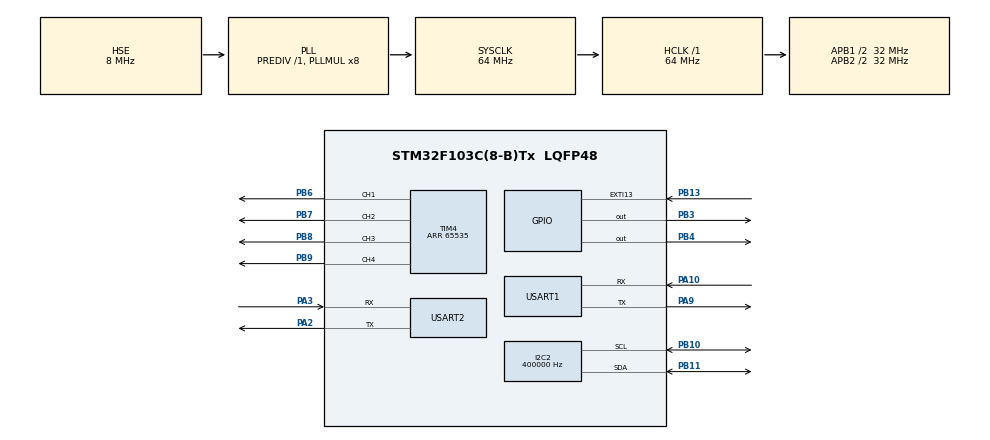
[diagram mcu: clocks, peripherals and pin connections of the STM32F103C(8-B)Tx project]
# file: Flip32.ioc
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I2C2.ClockSpeed=400000
I2C2.I2C_Mode=I2C_Fast
Mcu.Family=STM32F1
Mcu.Name=STM32F103C(8-B)Tx
Mcu.Package=LQFP48
NVIC.EXTI15_10_IRQn=true\:0\:0\:false
NVIC.PriorityGroup=NVIC_PRIORITYGROUP_4
NVIC.USART2_IRQn=true\:0\:0\:false
PA10.Mode=Asynchronous
PA10.Signal=USART1_RX
PA13.Mode=Serial_Wire
PA13.Signal=SYS_JTMS-SWDIO
PA14.Mode=Serial_Wire
PA14.Signal=SYS_JTCK-SWCLK
PA2.Mode=Asynchronous
PA2.Signal=USART2_TX
PA3.Mode=Asynchronous
PA3.Signal=USART2_RX
PA9.Mode=Asynchronous
PA9.Signal=USART1_TX
PB10.Mode=I2C
PB10.Signal=I2C2_SCL
PB11.Mode=I2C
PB11.Signal=I2C2_SDA
PB13.Signal=GPXTI13
PB3.Signal=GPIO_Output
PB4.Signal=GPIO_Output
PB6.Signal=S_TIM4_CH1
PB7.Signal=S_TIM4_CH2
PB8.Signal=S_TIM4_CH3
PB9.Signal=S_TIM4_CH4
PD0-OSC_IN.Mode=HSE-External-Oscillator
PD0-OSC_IN.Signal=RCC_OSC_IN
PD1-OSC_OUT.Mode=HSE-External-Oscillator
PD1-OSC_OUT.Signal=RCC_OSC_OUT
ProjectManager.HeapSize=0x400
ProjectManager.StackSize=0x200
ProjectManager.TargetToolchain=TrueSTUDIO
RCC.AHBFreq_Value=64000000
RCC.APB1CLKDivider=RCC_HCLK_DIV2
RCC.APB1Freq_Value=32000000
RCC.APB1TimCLKDivider=2
RCC.APB1TimFreq_Value=64000000
RCC.APB2CLKDivider=RCC_HCLK_DIV2
RCC.APB2Freq_Value=32000000
RCC.APB2TimCLKDivider=2
RCC.APB2TimFreq_Value=64000000
RCC.HCLKFreq_Value=64000000
RCC.HSIState=RCC_HSI_ON
RCC.PLLMUL=RCC_PLL_MUL8
RCC.PLLSourceVirtual=RCC_PLLSOURCE_HSE
RCC.SYSCLKFreq_VALUE=64000000
RCC.SYSCLKSource=RCC_SYSCLKSOURCE_PLLCLK
RCC.USBFreq_Value=64000000
SH.S_TIM4_CH1.0=TIM4_CH1,PWM Generation1 CH1
SH.S_TIM4_CH2.0=TIM4_CH2,PWM Generation2 CH2
SH.S_TIM4_CH3.0=TIM4_CH3,PWM Generation3 CH3
SH.S_TIM4_CH4.0=TIM4_CH4,PWM Generation4 CH4
TIM4.Channel-PWM\ Generation2\ CH2=TIM_CHANNEL_2
TIM4.Channel-PWM\ Generation3\ CH3=TIM_CHANNEL_3
TIM4.Channel-PWM\ Generation4\ CH4=TIM_CHANNEL_4
TIM4.Period=65535
VP_TIM4_VS_ClockSourceINT.Mode=Internal
board=Flip32

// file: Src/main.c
/**
  ******************************************************************************
  * File Name          : main.c
  * Description        : Main program body
  ******************************************************************************
  *
  * COPYRIGHT(c) 2016 STMicroelectronics
  *
  * Redistribution and use in source and binary forms, with or without modification,
  * are permitted provided that the following conditions are met:
  *   1. Redistributions of source code must retain the above copyright notice,
  *      this list of conditions and the following disclaimer.
  *   2. Redistributions in binary form must reproduce the above copyright notice,
  *      this list of conditions and the following disclaimer in the documentation
  *      and/or other materials provided with the distribution.
  *   3. Neither the name of STMicroelectronics nor the names of its contributors
  *      may be used to endorse or promote products derived from this software
  *      without specific prior written permission.
  *
  * THIS SOFTWARE IS PROVIDED BY THE COPYRIGHT HOLDERS AND CONTRIBUTORS "AS IS"
  * AND ANY EXPRESS OR IMPLIED WARRANTIES, INCLUDING, BUT NOT LIMITED TO, THE
  * IMPLIED WARRANTIES OF MERCHANTABILITY AND FITNESS FOR A PARTICULAR PURPOSE ARE
  * DISCLAIMED. IN NO EVENT SHALL THE COPYRIGHT HOLDER OR CONTRIBUTORS BE LIABLE
  * FOR ANY DIRECT, INDIRECT, INCIDENTAL, SPECIAL, EXEMPLARY, OR CONSEQUENTIAL
  * DAMAGES (INCLUDING, BUT NOT LIMITED TO, PROCUREMENT OF SUBSTITUTE GOODS OR
  * SERVICES; LOSS OF USE, DATA, OR PROFITS; OR BUSINESS INTERRUPTION) HOWEVER
  * CAUSED AND ON ANY THEORY OF LIABILITY, WHETHER IN CONTRACT, STRICT LIABILITY,
  * OR TORT (INCLUDING NEGLIGENCE OR OTHERWISE) ARISING IN ANY WAY OUT OF THE USE
  * OF THIS SOFTWARE, EVEN IF ADVISED OF THE POSSIBILITY OF SUCH DAMAGE.
  *
  ******************************************************************************
  */
#include "stm32f1xx_hal.h"

/* USER CODE BEGIN Includes */

#include "inv_mpu.h"
#include "inv_mpu_dmp_motion_driver.h"
#include "main.h"
#include <math.h>

/* USER CODE END Includes */

I2C_HandleTypeDef hi2c2;

TIM_HandleTypeDef htim4;

UART_HandleTypeDef huart1;
UART_HandleTypeDef huart2;

/* USER CODE BEGIN PV */
/* Private variables ---------------------------------------------------------*/

/* USER CODE END PV */

void SystemClock_Config(void);
static void MX_GPIO_Init(void);
static void MX_USART1_UART_Init(void);
static void MX_USART2_UART_Init(void);
static void MX_I2C2_Init(void);
static void MX_TIM4_Init(void);

void HAL_TIM_MspPostInit(TIM_HandleTypeDef *htim);

/* USER CODE BEGIN PFP */
/* Private function prototypes -----------------------------------------------*/

/* USER CODE END PFP */

/* USER CODE BEGIN 0 */
volatile uint8_t newData = 0;
volatile uint8_t rcRawData[16];
volatile uint8_t rcCounter = 0;
volatile uint16_t rcData[16];
float motors[4] = {0.0, 0.0, 0.0, 0.0}; // 0-100 %
float rc[4]; // throttle 0-100 %, -50-50 %
float attitude[3]; //

int _write(int fd, char *pBuffer, int size)
{
	HAL_UART_Transmit(&huart1, pBuffer, size, 200);

	return size;
}

static inline unsigned short inv_row_2_scale(const signed char *row)
{
    unsigned short b;

    if (row[0] > 0)
        b = 0;
    else if (row[0] < 0)
        b = 4;
    else if (row[1] > 0)
        b = 1;
    else if (row[1] < 0)
        b = 5;
    else if (row[2] > 0)
        b = 2;
    else if (row[2] < 0)
        b = 6;
    else
        b = 7;      // error
    return b;
}

static inline unsigned short inv_orientation_matrix_to_scalar(
    const signed char *mtx)
{
    unsigned short scalar;

    /*
       XYZ  010_001_000 Identity Matrix
       XZY  001_010_000
       YXZ  010_000_001
       YZX  000_010_001
       ZXY  001_000_010
       ZYX  000_001_010
     */

    scalar = inv_row_2_scale(mtx);
    scalar |= inv_row_2_scale(mtx + 3) << 3;
    scalar |= inv_row_2_scale(mtx + 6) << 6;

    return scalar;
}

static signed char gyro_orientation[9] = {-1, 0, 0,
                                           0,-1, 0,
                                           0, 0, 1};

int i2c_write(unsigned char slave_addr, unsigned char reg_addr, unsigned char length, unsigned char const *data) {
	return HAL_I2C_Mem_Write(&hi2c2, slave_addr << 1, reg_addr, I2C_MEMADD_SIZE_8BIT, (unsigned char *) data, length, 200);
}

int i2c_read(unsigned char slave_addr, unsigned char reg_addr, unsigned char length, unsigned char *data) {
	return HAL_I2C_Mem_Read(&hi2c2, slave_addr << 1, reg_addr, I2C_MEMADD_SIZE_8BIT, data, length, 200);
}

void delay_ms(unsigned long num_ms) {
	HAL_Delay(num_ms);
}

void get_ms(unsigned long *count) {
	if (count) *count = HAL_GetTick();
}

int reg_int_cb(struct int_param_s *int_param) {
	return 0;
}

int min(int a, int b) {
	return ((a<b)?a:b);
}

void __no_operation() {
	asm volatile("nop");
}

void HAL_GPIO_EXTI_Callback(uint16_t GPIO_Pin) {
	if (GPIO_Pin == GPIO_PIN_13) newData = 1;
}

void sysTickMain(void) {
	static uint16_t prevRxXferCount;
	uint8_t i;

	if (prevRxXferCount != huart2.RxXferCount) {
		// Nollställ rcCounter om nytt tecken tagits emot.
		rcCounter = 0;
		prevRxXferCount = huart2.RxXferCount;
	}

	if (rcCounter == 5) {
		// Avbrott mer än 5 ms. Starta ny mottagning.
		__HAL_UART_FLUSH_DRREGISTER(&huart2);
		HAL_UART_Receive_IT(&huart2, (uint8_t *)rcRawData, 16);
	}

	if (rcCounter == 20) {
		// Timeout!
		for(i = 0; i < 16; i++) rcData[i] = 0;

		__HAL_UART_FLUSH_DRREGISTER(&huart2);
		HAL_UART_Receive_IT(&huart2, (uint8_t *)rcRawData, 16);
	}
	if (rcCounter < 255) rcCounter++;
}

void HAL_UART_RxCpltCallback(UART_HandleTypeDef *huart) {
	uint8_t i;
	if (huart == &huart2) {
		// Tolka data
		for(i = 0; i < 7; i++) {
			rcData[(rcRawData[(i * 2) + 2] >> 3) & 0x0F] = ((rcRawData[(i * 2) + 2] & 0x07) * 0xFF) + rcRawData[(i * 2) + 3];
		}
	}
}

/* USER CODE END 0 */

int main(void)
{

  /* USER CODE BEGIN 1 */
	short sensors;
	unsigned char more;
	long quat[4];
	double pitch, yaw, roll;
	double qx, qy, qz, qw;
	char t = 'B';
	uint16_t count = 0, count2 = 0;
	uint32_t oldTick;

	//extern void initialise_monitor_handles(void);

  /* USER CODE END 1 */

  /* MCU Configuration----------------------------------------------------------*/

  /* Reset of all peripherals, Initializes the Flash interface and the Systick. */
  HAL_Init();

  /* Configure the system clock */
  SystemClock_Config();

  /* Initialize all configured peripherals */
  MX_GPIO_Init();
  MX_USART1_UART_Init();
  MX_USART2_UART_Init();
  MX_I2C2_Init();
  MX_TIM4_Init();

  /* USER CODE BEGIN 2 */
  //initialise_monitor_handles();

  /* while(1) {
  	HAL_GPIO_TogglePin(GPIOB, GPIO_PIN_4);
  	HAL_GPIO_TogglePin(GPIOB, GPIO_PIN_3);
  	HAL_Delay(500);
  }*/

  /* Start all four timer channels for one shot generation */
  HAL_TIM_PWM_Start(&htim4, TIM_CHANNEL_1);
  HAL_TIM_PWM_Start(&htim4, TIM_CHANNEL_2);
  HAL_TIM_PWM_Start(&htim4, TIM_CHANNEL_3);
  HAL_TIM_PWM_Start(&htim4, TIM_CHANNEL_4);

  // 125-250 us, 24 MHz, 125 us = 3000, 250 us = 6000

  /*while(1) {
  	  htim4.Instance->EGR = TIM_EGR_UG;
  	  //while (htim4.Instance->EGR & TIM_EGR_UG); // Verkar inte behövas om timer clock är dubbelt så snabb som peripheral clock?
  	  __HAL_TIM_SET_COMPARE(&htim4, TIM_CHANNEL_1, ((rcData[0] / 2) * 3) + 2811);
  	  __HAL_TIM_SET_COMPARE(&htim4, TIM_CHANNEL_2, 4000);
  	  __HAL_TIM_SET_COMPARE(&htim4, TIM_CHANNEL_3, 5000);
  	  __HAL_TIM_SET_COMPARE(&htim4, TIM_CHANNEL_4, 5000);
  	  htim4.Instance->EGR = TIM_EGR_UG;
  	  //while (htim4.Instance->EGR & TIM_EGR_UG);
  	  __HAL_TIM_SET_COMPARE(&htim4, TIM_CHANNEL_1, 0);
  	  __HAL_TIM_SET_COMPARE(&htim4, TIM_CHANNEL_2, 0);
  	  __HAL_TIM_SET_COMPARE(&htim4, TIM_CHANNEL_3, 0);
  	  __HAL_TIM_SET_COMPARE(&htim4, TIM_CHANNEL_4, 0);

    	HAL_Delay(10); // Inte mer än 10 ms mellan pulser, annars verkar inte BLHeli starta upp
  }*/

  /* Delay to allow time for sensors to start up */
  HAL_Delay(200);

  /* Initialization of MPU6050 */
  mpu_init(NULL);
  mpu_set_sensors(INV_XYZ_GYRO | INV_XYZ_ACCEL);
  dmp_load_motion_driver_firmware();
  dmp_set_orientation(inv_orientation_matrix_to_scalar(gyro_orientation));
  dmp_enable_feature(DMP_FEATURE_6X_LP_QUAT | DMP_FEATURE_GYRO_CAL);
  dmp_set_fifo_rate(200); // 200 Hz is maximum sample rate with DMP
  mpu_set_dmp_state(1);

  /* USER CODE END 2 */

  /* Infinite loop */
  while (1)
  {

  /* USER CODE BEGIN 3 */
  	if (newData) {
  			dmp_read_fifo(NULL, NULL, quat, NULL, &sensors, &more);
  			if (sensors == INV_WXYZ_QUAT) {
  				oldTick = HAL_GetTick();

  				/* Calculate roll, pitch and yaw */
  				qw = ((double) quat[0]) / 1073741824.0;
  				qx = ((double) quat[1]) / 1073741824.0;
  				qy = ((double) quat[2]) / 1073741824.0;
  				qz = ((double) quat[3]) / 1073741824.0;

  				roll = atan2(2.0*(qy*qz + qw*qx), qw*qw - qx*qx - qy*qy + qz*qz);
  				pitch = asin(2.0*(qx*qz - qw*qy));
  				yaw = atan2(2.0*(qx*qy + qw*qz), qw*qw + qx*qx - qy*qy - qz*qz);

  				oldTick = HAL_GetTick() - oldTick;

  				count++;

  				if (count > 200) {
  					//printf("%d\r\n", count2);
  					printf("Yaw: %d Pitch: %d Roll: %d Throttle: %d Speed: %d\r\n", (int16_t)(yaw * (180.0 / M_PI)), (int16_t)(pitch * (180.0 / M_PI)), (int16_t)(roll * (180.0 / M_PI)), rcData[0], oldTick);
  					count = 0;
  					//count2++;
  				}
  				//printf("Yaw: %d Pitch: %d Roll: %d Throttle: %d\r\n", (int16_t)(yaw * (180.0 / M_PI)), (int16_t)(pitch * (180.0 / M_PI)), (int16_t)(roll * (180.0 / M_PI)), rcData[0]);
  			}

  			//if ((hUsbDeviceFS.dev_state == USBD_STATE_CONFIGURED) && (hUsbDeviceFS.ep0_state != USBD_EP0_STATUS_IN)) HAL_GPIO_WritePin(GPIOC, GPIO_PIN_13, 0); else HAL_GPIO_WritePin(GPIOC, GPIO_PIN_13, 1);
  			if (more == 0) newData = 0;
  	}
  }
  /* USER CODE END 3 */

}

/** System Clock Configuration
*/
void SystemClock_Config(void)
{

  RCC_OscInitTypeDef RCC_OscInitStruct;
  RCC_ClkInitTypeDef RCC_ClkInitStruct;

  RCC_OscInitStruct.OscillatorType = RCC_OSCILLATORTYPE_HSE;
  RCC_OscInitStruct.HSEState = RCC_HSE_ON;
  RCC_OscInitStruct.HSEPredivValue = RCC_HSE_PREDIV_DIV1;
  RCC_OscInitStruct.PLL.PLLState = RCC_PLL_ON;
  RCC_OscInitStruct.PLL.PLLSource = RCC_PLLSOURCE_HSE;
  RCC_OscInitStruct.PLL.PLLMUL = RCC_PLL_MUL8;
  HAL_RCC_OscConfig(&RCC_OscInitStruct);

  RCC_ClkInitStruct.ClockType = RCC_CLOCKTYPE_HCLK|RCC_CLOCKTYPE_SYSCLK
                              |RCC_CLOCKTYPE_PCLK1|RCC_CLOCKTYPE_PCLK2;
  RCC_ClkInitStruct.SYSCLKSource = RCC_SYSCLKSOURCE_PLLCLK;
  RCC_ClkInitStruct.AHBCLKDivider = RCC_SYSCLK_DIV1;
  RCC_ClkInitStruct.APB1CLKDivider = RCC_HCLK_DIV2;
  RCC_ClkInitStruct.APB2CLKDivider = RCC_HCLK_DIV2;
  HAL_RCC_ClockConfig(&RCC_ClkInitStruct, FLASH_LATENCY_2);

  HAL_SYSTICK_Config(HAL_RCC_GetHCLKFreq()/1000);

  HAL_SYSTICK_CLKSourceConfig(SYSTICK_CLKSOURCE_HCLK);

  /* SysTick_IRQn interrupt configuration */
  HAL_NVIC_SetPriority(SysTick_IRQn, 0, 0);
}

/* I2C2 init function */
void MX_I2C2_Init(void)
{

  hi2c2.Instance = I2C2;
  hi2c2.Init.ClockSpeed = 400000;
  hi2c2.Init.DutyCycle = I2C_DUTYCYCLE_2;
  hi2c2.Init.OwnAddress1 = 0;
  hi2c2.Init.AddressingMode = I2C_ADDRESSINGMODE_7BIT;
  hi2c2.Init.DualAddressMode = I2C_DUALADDRESS_DISABLED;
  hi2c2.Init.OwnAddress2 = 0;
  hi2c2.Init.GeneralCallMode = I2C_GENERALCALL_DISABLED;
  hi2c2.Init.NoStretchMode = I2C_NOSTRETCH_DISABLED;
  HAL_I2C_Init(&hi2c2);

}

/* TIM4 init function */
void MX_TIM4_Init(void)
{

  TIM_ClockConfigTypeDef sClockSourceConfig;
  TIM_MasterConfigTypeDef sMasterConfig;
  TIM_OC_InitTypeDef sConfigOC;

  htim4.Instance = TIM4;
  htim4.Init.Prescaler = 0;
  htim4.Init.CounterMode = TIM_COUNTERMODE_UP;
  htim4.Init.Period = 65535;
  htim4.Init.ClockDivision = TIM_CLOCKDIVISION_DIV1;
  HAL_TIM_Base_Init(&htim4);

  sClockSourceConfig.ClockSource = TIM_CLOCKSOURCE_INTERNAL;
  HAL_TIM_ConfigClockSource(&htim4, &sClockSourceConfig);

  HAL_TIM_PWM_Init(&htim4);

  sMasterConfig.MasterOutputTrigger = TIM_TRGO_RESET;
  sMasterConfig.MasterSlaveMode = TIM_MASTERSLAVEMODE_DISABLE;
  HAL_TIMEx_MasterConfigSynchronization(&htim4, &sMasterConfig);

  sConfigOC.OCMode = TIM_OCMODE_PWM1;
  sConfigOC.Pulse = 0;
  sConfigOC.OCPolarity = TIM_OCPOLARITY_HIGH;
  sConfigOC.OCFastMode = TIM_OCFAST_DISABLE;
  HAL_TIM_PWM_ConfigChannel(&htim4, &sConfigOC, TIM_CHANNEL_1);

  HAL_TIM_PWM_ConfigChannel(&htim4, &sConfigOC, TIM_CHANNEL_2);

  HAL_TIM_PWM_ConfigChannel(&htim4, &sConfigOC, TIM_CHANNEL_3);

  HAL_TIM_PWM_ConfigChannel(&htim4, &sConfigOC, TIM_CHANNEL_4);

  HAL_TIM_MspPostInit(&htim4);

}

/* USART1 init function */
void MX_USART1_UART_Init(void)
{

  huart1.Instance = USART1;
  huart1.Init.BaudRate = 115200;
  huart1.Init.WordLength = UART_WORDLENGTH_8B;
  huart1.Init.StopBits = UART_STOPBITS_1;
  huart1.Init.Parity = UART_PARITY_NONE;
  huart1.Init.Mode = UART_MODE_TX_RX;
  huart1.Init.HwFlowCtl = UART_HWCONTROL_NONE;
  huart1.Init.OverSampling = UART_OVERSAMPLING_16;
  HAL_UART_Init(&huart1);

}

/* USART2 init function */
void MX_USART2_UART_Init(void)
{

  huart2.Instance = USART2;
  huart2.Init.BaudRate = 115200;
  huart2.Init.WordLength = UART_WORDLENGTH_8B;
  huart2.Init.StopBits = UART_STOPBITS_1;
  huart2.Init.Parity = UART_PARITY_NONE;
  huart2.Init.Mode = UART_MODE_TX_RX;
  huart2.Init.HwFlowCtl = UART_HWCONTROL_NONE;
  huart2.Init.OverSampling = UART_OVERSAMPLING_16;
  HAL_UART_Init(&huart2);

}

/** Configure pins as
        * Analog
        * Input
        * Output
        * EVENT_OUT
        * EXTI
*/
void MX_GPIO_Init(void)
{

  GPIO_InitTypeDef GPIO_InitStruct;

  /* GPIO Ports Clock Enable */
  __GPIOD_CLK_ENABLE();
  __GPIOA_CLK_ENABLE();
  __GPIOB_CLK_ENABLE();

  /*Configure GPIO pin : PB13 */
  GPIO_InitStruct.Pin = GPIO_PIN_13;
  GPIO_InitStruct.Mode = GPIO_MODE_IT_RISING;
  GPIO_InitStruct.Pull = GPIO_NOPULL;
  HAL_GPIO_Init(GPIOB, &GPIO_InitStruct);

  /*Configure GPIO pins : PB3 PB4 */
  GPIO_InitStruct.Pin = GPIO_PIN_3|GPIO_PIN_4;
  GPIO_InitStruct.Mode = GPIO_MODE_OUTPUT_PP;
  GPIO_InitStruct.Speed = GPIO_SPEED_LOW;
  HAL_GPIO_Init(GPIOB, &GPIO_InitStruct);

  /*Configure GPIO pin Output Level */
  HAL_GPIO_WritePin(GPIOB, GPIO_PIN_3|GPIO_PIN_4, GPIO_PIN_RESET);

  /* EXTI interrupt init*/
  HAL_NVIC_SetPriority(EXTI15_10_IRQn, 0, 0);
  HAL_NVIC_EnableIRQ(EXTI15_10_IRQn);

}

/************************ (C) COPYRIGHT STMicroelectronics *****END OF FILE****/
